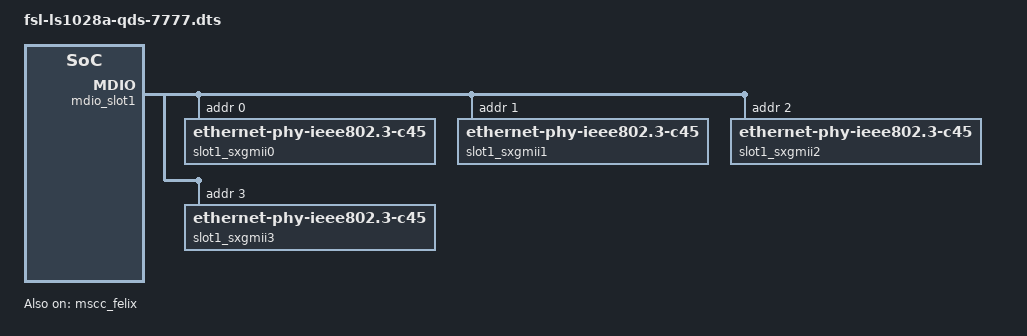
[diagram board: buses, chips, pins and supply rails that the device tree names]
// SPDX-License-Identifier: (GPL-2.0+ OR MIT)
/*
 * Device Tree fragment for LS1028A QDS board, serdes 7777
 *
 * Copyright 2019-2021 NXP
 *
 * Requires a LS1028A QDS board without lane B rework.
 * Requires a SCH-30841 card without lane A/C rewire and with a FW with muxing
 * disabled, plugged in slot 1.
 */

/dts-v1/;
/plugin/;

&mdio_slot1 {
	#address-cells = <1>;
	#size-cells = <0>;

	/* 4 ports on AQR412 */
	slot1_sxgmii0: ethernet-phy@0 {
		reg = <0x0>;
		compatible = "ethernet-phy-ieee802.3-c45";
	};

	slot1_sxgmii1: ethernet-phy@1 {
		reg = <0x1>;
		compatible = "ethernet-phy-ieee802.3-c45";
	};

	slot1_sxgmii2: ethernet-phy@2 {
		reg = <0x2>;
		compatible = "ethernet-phy-ieee802.3-c45";
	};

	slot1_sxgmii3: ethernet-phy@3 {
		reg = <0x3>;
		compatible = "ethernet-phy-ieee802.3-c45";
	};
};

&mscc_felix_ports {
	port@0 {
		status = "okay";
		phy-handle = <&slot1_sxgmii0>;
		phy-mode = "2500base-x";
	};

	port@1 {
		status = "okay";
		phy-handle = <&slot1_sxgmii1>;
		phy-mode = "2500base-x";
	};

	port@2 {
		status = "okay";
		phy-handle = <&slot1_sxgmii2>;
		phy-mode = "2500base-x";
	};

	port@3 {
		status = "okay";
		phy-handle = <&slot1_sxgmii3>;
		phy-mode = "2500base-x";
	};
};

&mscc_felix {
	status = "okay";
};
